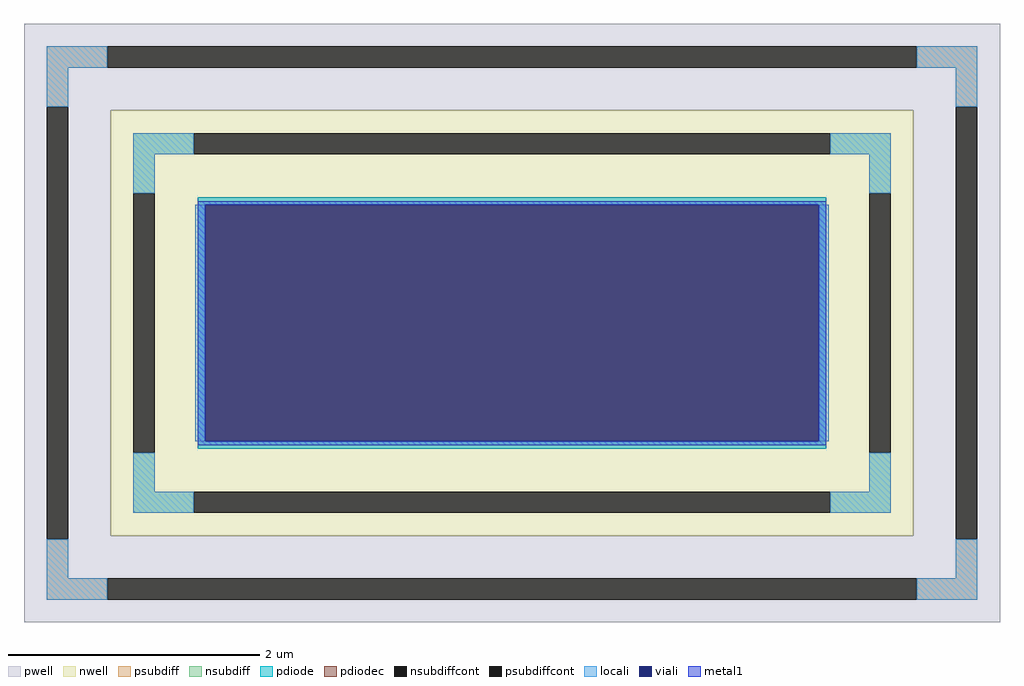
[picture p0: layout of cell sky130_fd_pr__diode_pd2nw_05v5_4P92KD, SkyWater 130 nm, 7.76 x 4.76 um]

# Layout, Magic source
magic
tech sky130B
<< nwell >>
rect -319 -169 319 169
<< pwell >>
rect -388 169 388 238
rect -388 -169 -319 169
rect 319 -169 388 169
rect -388 -238 388 -169
<< psubdiff >>
rect -370 203 -322 220
rect 322 203 370 220
rect -370 172 -353 203
rect 353 172 370 203
rect -370 -203 -353 -172
rect 353 -203 370 -172
rect -370 -220 -322 -203
rect 322 -220 370 -203
<< nsubdiff >>
rect -301 134 -253 151
rect 253 134 301 151
rect -301 103 -284 134
rect 284 103 301 134
rect -301 -134 -284 -103
rect 284 -134 301 -103
rect -301 -151 -253 -134
rect 253 -151 301 -134
<< psubdiffcont >>
rect -322 203 322 220
rect -370 -172 -353 172
rect 353 -172 370 172
rect -322 -220 322 -203
<< nsubdiffcont >>
rect -253 134 253 151
rect -301 -103 -284 103
rect 284 -103 301 103
rect -253 -151 253 -134
<< pdiode >>
rect -250 94 250 100
rect -250 -94 -244 94
rect 244 -94 250 94
rect -250 -100 250 -94
<< pdiodec >>
rect -244 -94 244 94
<< locali >>
rect -370 203 -322 220
rect 322 203 370 220
rect -370 172 -353 203
rect 353 172 370 203
rect -301 134 -253 151
rect 253 134 301 151
rect -301 103 -284 134
rect 284 103 301 134
rect -252 -94 -244 94
rect 244 -94 252 94
rect -301 -134 -284 -103
rect 284 -134 301 -103
rect -301 -151 -253 -134
rect 253 -151 301 -134
rect -370 -203 -353 -172
rect 353 -203 370 -172
rect -370 -220 -322 -203
rect 322 -220 370 -203
<< viali >>
rect -244 -94 244 94
<< metal1 >>
rect -250 94 250 97
rect -250 -94 -244 94
rect 244 -94 250 94
rect -250 -97 250 -94
<< properties >>
string FIXED_BBOX -292 -142 292 142
string gencell sky130_fd_pr__diode_pd2nw_05v5
string library sky130
string parameters w 5 l 2 area 10.0 peri 14.0 nx 1 ny 1 dummy 0 lmin 0.45 wmin 0.45 elc 1 erc 1 etc 1 ebc 1 glc 1 grc 1 gtc 1 gbc 1 doverlap 1 compatible {sky130_fd_pr__diode_pd2nw_05v5 sky130_fd_pr__diode_pd2nw_05v5_lvt  sky130_fd_pr__diode_pd2nw_05v5_hvt sky130_fd_pr__diode_pd2nw_11v0} full_metal 1 vias 1 viagb 0 viagt 0 viagl 0 viagr 0
<< end >>
